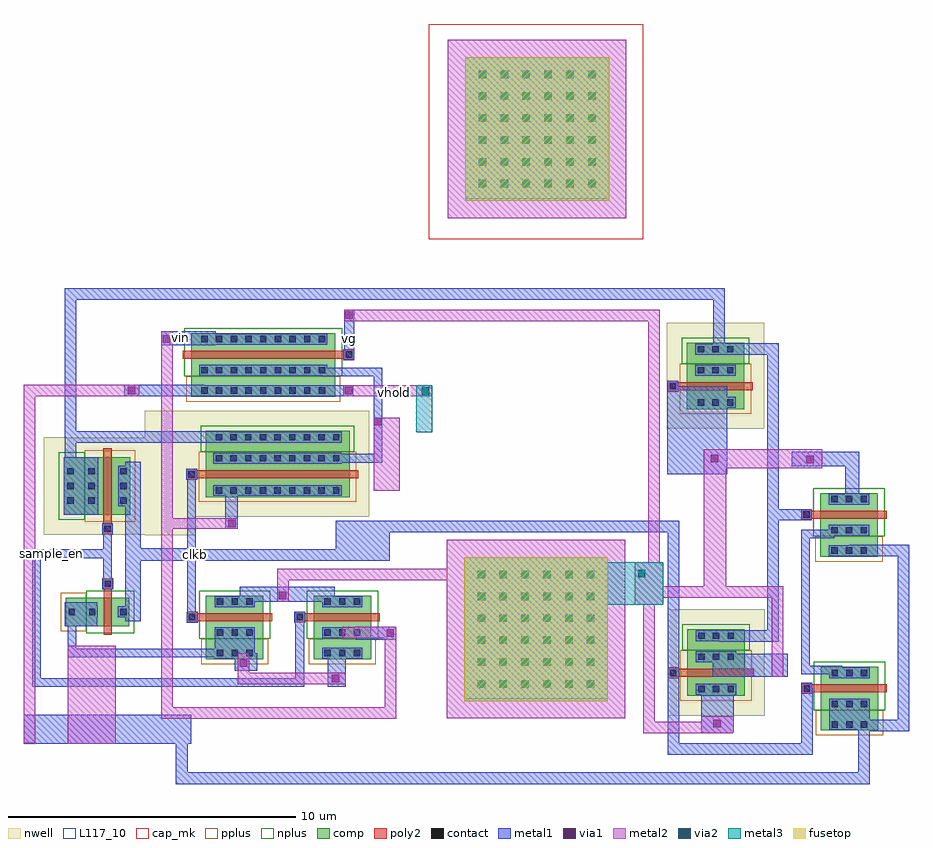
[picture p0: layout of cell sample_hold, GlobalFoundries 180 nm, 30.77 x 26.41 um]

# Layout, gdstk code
from math import pi, radians
import gdstk
lib = gdstk.Library(unit=1e-6, precision=5e-09)
def R(c, l, rs):  # rectangles x0, y0, x1, y1
    for r in rs: c.add(gdstk.rectangle(r[:2], r[2:], *l))
def A(c, l, x, y, w, h, nx, ny, dx, dy):  # array of equal rectangles
    R(c, l, [(x+i*dx, y+j*dy, x+i*dx+w, y+j*dy+h) for i in range(nx) for j in range(ny)])
def P(c, l, *ps):  # polygons
    for p in ps: c.add(gdstk.Polygon(p, *l))
nwell = (21, 0)
comp = (22, 0)
poly2 = (30, 0)
pplus = (31, 0)
nplus = (32, 0)
contact = (33, 0)
metal1 = (34, 0)
via1 = (35, 0)
metal2 = (36, 0)
via2 = (38, 0)
metal3 = (42, 0)
fusetop = (75, 0)
cap_mk = (117, 5)
L117_10 = (117, 10)

pfet = lib.new_cell('pfet')
R(pfet, nwell, [(-1.15,-0.69,2.54,2.69)])
R(pfet, comp, [(-0.46,0,0,2), (0,0,0.66,2), (0.66,0,1.12,2), (1.12,0,1.85,2)])
R(pfet, poly2, [(0.14,-0.68,0.52,-0.3), (0.19,-0.3,0.47,2.3)])
R(pfet, pplus, [(-0.63,-0.24,1.12,2.24)])
R(pfet, nplus, [(1.12,-0.17,2.02,2.17)])
A(pfet, contact, -0.34, 0.38, 0.22, 0.22, 1, 3, 0, 0.51)
A(pfet, contact, 0.78, 0.38, 0.22, 0.22, 1, 3, 0, 0.51)
A(pfet, contact, 1.51, 0.38, 0.22, 0.22, 1, 3, 0, 0.51)
R(pfet, contact, [(0.22,-0.6,0.44,-0.38)])
R(pfet, metal1, [(0.14,-0.68,0.52,-0.3), (-0.42,0.3,-0.04,1.7), (0.7,0.3,1.08,1.7), (1.43,0.3,1.81,1.7)])

nfet = lib.new_cell('nfet')
R(nfet, comp, [(-0.42,0,0,1), (0,0,0.66,1), (0.66,0,1.08,1), (1.08,0,1.79,1)])
R(nfet, poly2, [(0.19,-0.3,0.47,1.3), (0.15,1.3,0.51,1.66)])
R(nfet, pplus, [(1.08,-0.17,1.96,1.17)])
R(nfet, nplus, [(-0.59,-0.24,1.08,1.24)])
R(nfet, contact, [(-0.32,0.39,-0.1,0.61), (0.76,0.39,0.98,0.61), (1.47,0.39,1.69,0.61), (0.22,1.37,0.44,1.59)])
R(nfet, metal1, [(-0.4,0.31,-0.02,0.69), (0.68,0.31,1.06,0.69), (1.39,0.31,1.77,0.69), (0.14,1.29,0.52,1.67)])

inv_sh = lib.new_cell('inv_sh')
R(inv_sh, metal1, [(0.29,-1.01,1.42,-0.18), (-1.22,-0.84,-0.68,4.7), (0.26,2.86,1.45,4.86)])
inv_sh.add(gdstk.FlexPath([(-0.07,2.37),(-0.07,0.43),(-0.07,0.43)], 0.3, ends="flush", simple_path=True, layer=34, datatype=0))  # metal1
inv_sh.add(gdstk.Reference(pfet, (-0.4,2.86)))
inv_sh.add(gdstk.Reference(nfet, (-0.41,-1.02)))
inv_sh.add(gdstk.Label('vdd', (0.855,3.64), layer=34, texttype=10))
inv_sh.add(gdstk.Label('vss', (0.86,-0.56), layer=34, texttype=10))
inv_sh.add(gdstk.Label('vo', (-0.99,1.28), layer=34, texttype=10))
inv_sh.add(gdstk.Label('vi', (-0.07,1.39), layer=34, texttype=10))

pfet_2 = lib.new_cell('pfet$2')
R(pfet_2, nwell, [(-1.15,-0.69,2.54,5.69)])
R(pfet_2, comp, [(-0.46,0,0,5), (0,0,0.66,5), (0.66,0,1.12,5), (1.12,0,1.85,5)])
R(pfet_2, poly2, [(0.19,-0.3,0.47,5.3), (0.14,5.3,0.52,5.68)])
R(pfet_2, pplus, [(-0.63,-0.24,1.12,5.24)])
R(pfet_2, nplus, [(1.12,-0.17,2.02,5.17)])
A(pfet_2, contact, -0.34, 0.35, 0.22, 0.22, 1, 9, 0, 0.51)
A(pfet_2, contact, 0.78, 0.35, 0.22, 0.22, 1, 9, 0, 0.51)
A(pfet_2, contact, 1.51, 0.35, 0.22, 0.22, 1, 9, 0, 0.51)
R(pfet_2, contact, [(0.22,5.38,0.44,5.6)])
R(pfet_2, metal1, [(-0.42,0.27,-0.04,4.73), (0.7,0.27,1.08,4.73), (1.43,0.27,1.81,4.73), (0.14,5.3,0.52,5.68)])

nfet_3 = lib.new_cell('nfet$3')
R(nfet_3, comp, [(-0.42,0,0,2), (0,0,0.66,2), (0.66,0,1.08,2), (1.08,0,1.79,2)])
R(nfet_3, poly2, [(0.15,-0.66,0.51,-0.3), (0.19,-0.3,0.47,2.3)])
R(nfet_3, pplus, [(1.08,-0.17,1.96,2.17)])
R(nfet_3, nplus, [(-0.59,-0.24,1.08,2.24)])
A(nfet_3, contact, -0.32, 0.38, 0.22, 0.22, 1, 3, 0, 0.51)
A(nfet_3, contact, 0.76, 0.38, 0.22, 0.22, 1, 3, 0, 0.51)
A(nfet_3, contact, 1.47, 0.38, 0.22, 0.22, 1, 3, 0, 0.51)
R(nfet_3, contact, [(0.22,-0.59,0.44,-0.37)])
R(nfet_3, metal1, [(0.14,-0.67,0.52,-0.29), (-0.4,0.3,-0.02,1.7), (0.68,0.3,1.06,1.7), (1.39,0.3,1.77,1.7)])

nfet_5 = lib.new_cell('nfet$5')
R(nfet_5, comp, [(-0.42,0,0,5), (0,0,0.66,5), (0.66,0,1.08,5), (1.08,0,1.79,5)])
R(nfet_5, poly2, [(0.15,-0.66,0.51,-0.3), (0.19,-0.3,0.47,5.3)])
R(nfet_5, pplus, [(1.08,-0.17,1.96,5.17)])
R(nfet_5, nplus, [(-0.59,-0.24,1.08,5.24)])
A(nfet_5, contact, -0.32, 0.35, 0.22, 0.22, 1, 9, 0, 0.51)
A(nfet_5, contact, 0.76, 0.35, 0.22, 0.22, 1, 9, 0, 0.51)
A(nfet_5, contact, 1.47, 0.35, 0.22, 0.22, 1, 9, 0, 0.51)
R(nfet_5, contact, [(0.22,-0.59,0.44,-0.37)])
R(nfet_5, metal1, [(0.14,-0.67,0.52,-0.29), (-0.4,0.27,-0.02,4.73), (0.68,0.27,1.06,4.73), (1.39,0.27,1.77,4.73)])

cap_mim = lib.new_cell('cap_mim')
R(cap_mim, metal2, [(-0.6,-0.6,5.6,5.6)])
A(cap_mim, via2, 0.47, 0.47, 0.26, 0.26, 6, 6, 0.76, 0.76)
R(cap_mim, metal3, [(0,0,5,5)])
R(cap_mim, fusetop, [(0,0,5,5)])
R(cap_mim, cap_mk, [(-0.6,-0.6,5.6,5.6)])
R(cap_mim, L117_10, [(0,0,5,0.1)])

pfet_3 = lib.new_cell('pfet$3')

pfet_5 = lib.new_cell('pfet$5')
R(pfet_5, nwell, [(-1.15,-0.69,2.54,2.69)])
R(pfet_5, comp, [(-0.46,0,0,2), (0,0,0.66,2), (0.66,0,1.12,2), (1.12,0,1.85,2)])
R(pfet_5, poly2, [(0.19,-0.3,0.47,2.3), (0.14,2.3,0.52,2.68)])
R(pfet_5, pplus, [(-0.63,-0.24,1.12,2.24)])
R(pfet_5, nplus, [(1.12,-0.17,2.02,2.17)])
A(pfet_5, contact, -0.34, 0.38, 0.22, 0.22, 1, 3, 0, 0.51)
A(pfet_5, contact, 0.78, 0.38, 0.22, 0.22, 1, 3, 0, 0.51)
A(pfet_5, contact, 1.51, 0.38, 0.22, 0.22, 1, 3, 0, 0.51)
R(pfet_5, contact, [(0.22,2.38,0.44,2.6)])
R(pfet_5, metal1, [(-0.42,0.3,-0.04,1.7), (0.7,0.3,1.08,1.7), (1.43,0.3,1.81,1.7), (0.14,2.3,0.52,2.68)])

cap_mim_2 = lib.new_cell('cap_mim$2')
R(cap_mim_2, metal2, [(-0.6,-0.6,5.6,5.6)])
A(cap_mim_2, via2, 0.47, 0.47, 0.26, 0.26, 6, 6, 0.76, 0.76)
R(cap_mim_2, metal3, [(0,0,5,5)])
R(cap_mim_2, fusetop, [(0,0,5,5)])
R(cap_mim_2, cap_mk, [(-0.6,-0.6,5.6,5.6)])
R(cap_mim_2, L117_10, [(0,0,5,0.1)])

sample_hold = lib.new_cell('sample_hold')
R(sample_hold, nwell, [(-24.39,11.62,-22.61,15.95)])
R(sample_hold, metal1, [(-28.59,4.38,-22.77,5.38), (-5.03,4.74,-3.95,5.14), (-5.04,4.77,-3.91,6.39), (-0.6,4.86,0.8,5.95), (-18.03,6.36,-17.4,7.53), (-4.64,6.7,-2.04,7.51), (-21.26,6.91,-20.48,7.53), (-21.96,7.53,-20.56,8.24), (-17.05,7.99,-15.65,8.45), (-21.08,9.31,-17.78,9.83), (-25.07,10.73,-22.61,11.17), (-17.74,10.73,-15.88,12.12), (-21.58,11.85,-21.15,13.37), (-2.75,12.15,-1.2,12.53), (-6.23,13.75,-4.14,16.8), (-18.63,16.45,-17.14,16.84), (-17.46,17.72,-17.1,19.46), (-23.81,18.23,-21.92,18.71)])
P(sample_hold, metal1, [(-21.92,18.23),(-21.92,18.23),(-21.92,18.23),(-21.92,18.23)],
  [(-21.15,11.85),(-21.15,11.85),(-21.15,11.85),(-21.15,11.85)])
R(sample_hold, via1, [(-4.63,4.96,-4.37,5.22), (-17.895,6.515,-17.635,6.775), (-21.09,7.05,-20.83,7.31), (-15.985,8.09,-15.725,8.35), (-19.73,9.4,-19.47,9.66), (-21.485,11.905,-21.225,12.165), (-1.395,14.125,-1.135,14.385), (-4.725,14.165,-4.465,14.425), (-16.42,15.445,-16.16,15.705), (-24.98,16.52,-24.72,16.78), (-17.44,16.53,-17.18,16.79), (-23.755,18.315,-23.495,18.575), (-17.41,19.14,-17.15,19.4)])
P(sample_hold, via1, [(-16.36,15.67),(-16.36,15.67),(-16.36,15.67),(-16.36,15.67)])
R(sample_hold, metal2, [(-27.07,4.38,-25.39,7.78), (-5.04,4.77,-3.91,5.34), (-7.35,9.21,-6.37,10.69), (-4.96,9.45,-4.18,14.59), (-23.81,11.39,-23.41,18.71), (-23.81,11.85,-21.15,12.21), (-16.42,13.17,-15.52,15.705), (-4.96,13.95,-0.85,14.62), (-17.48,16.46,-14.4,16.83)])
R(sample_hold, via2, [(-7.245,10.165,-6.985,10.425), (-14.765,16.51,-14.505,16.77)])
R(sample_hold, metal3, [(-10.02,9.21,-6.37,10.69), (-14.95,15.2,-14.4,16.83)])
R(sample_hold, cap_mk, [(-14.52,21.91,-7.07,29.39), (-12.84,29.21,-12.82,29.39)])
P(sample_hold, cap_mk, [(-12.83,29.3),(-12.83,29.3),(-12.83,29.3),(-12.83,29.3)],
  [(-12.82,29.21),(-12.82,29.21),(-12.82,29.21),(-12.82,29.21)])
sample_hold.add(gdstk.FlexPath([(-18.23,17.3),(-16.28,17.3),(-16.28,14.3),(-18.13,14.3)], 0.3, ends="flush", simple_path=True, layer=34, datatype=0))  # metal1
sample_hold.add(gdstk.FlexPath([(-26.97,13.85),(-26.97,15.03),(-21.41,15.03),(-21.41,15.03)], 0.4, ends="flush", simple_path=True, layer=34, datatype=0))  # metal1
sample_hold.add(gdstk.FlexPath([(-16.4,11.92),(-6.02,11.92),(-6.02,6.84)], 0.4, ends="flush", simple_path=True, layer=34, datatype=0))  # metal1
sample_hold.add(gdstk.FlexPath([(-4.43,17.94),(-4.43,20.01),(-26.97,20.01),(-26.97,13.96),(-26.97,13.96)], 0.4, ends="flush", simple_path=True, layer=34, datatype=0))  # metal1
sample_hold.add(gdstk.FlexPath([(-4.44,18.09),(-2.55,18.09),(-2.55,8.13),(-4.42,8.13),(-4.42,8.13)], 0.4, ends="flush", simple_path=True, layer=34, datatype=0))  # metal1
sample_hold.add(gdstk.FlexPath([(-17.52,10.93),(-22.91,10.93)], 0.4, ends="flush", simple_path=True, layer=34, datatype=0))  # metal1
sample_hold.add(gdstk.FlexPath([(-0.42,11.67),(-1.42,11.67),(-1.42,6.94),(-0.3,6.94),(-0.3,6.84)], 0.3, ends="flush", simple_path=True, layer=34, datatype=0))  # metal1
sample_hold.add(gdstk.FlexPath([(0.4,5.02),(1.98,5.02),(1.98,11.09),(0.09,11.09),(0.09,11.09)], 0.4, ends="flush", simple_path=True, layer=34, datatype=0))  # metal1
sample_hold.add(gdstk.FlexPath([(-6.02,6.84),(-6.02,4.2),(-1.38,4.2),(-1.38,6.3),(-1.38,6.3)], 0.4, ends="flush", simple_path=True, layer=34, datatype=0))  # metal1
sample_hold.add(gdstk.FlexPath([(-22.31,16.65),(-25.1,16.65)], 0.4, ends="flush", simple_path=True, layer=34, datatype=0))  # metal1
sample_hold.add(gdstk.FlexPath([(0.61,5.05),(0.61,3.18),(-23.1,3.18),(-23.1,4.84),(-23.08,4.84)], 0.4, ends="flush", simple_path=True, layer=34, datatype=0))  # metal1
sample_hold.add(gdstk.FlexPath([(-1.91,14.27),(0.2,14.27),(0.2,12.88)], 0.5, ends="flush", simple_path=True, layer=34, datatype=0))  # metal1
sample_hold.add(gdstk.FlexPath([(-22.76,13.74),(-22.76,8.78),(-22.74,8.78)], 0.3, ends="flush", simple_path=True, layer=34, datatype=0))  # metal1
sample_hold.add(gdstk.FlexPath([(-26.92,8.96),(-26.92,7.53),(-21.77,7.53),(-21.77,7.53)], 0.3, ends="flush", simple_path=True, layer=34, datatype=0))  # metal1
sample_hold.add(gdstk.FlexPath([(-25.68,10.98),(-28.15,10.98),(-28.15,6.51),(-19,6.51),(-19,8.78),(-19,8.78)], 0.3, ends="flush", simple_path=True, layer=34, datatype=0))  # metal1
sample_hold.add(gdstk.FlexPath([(-19.59,9.31),(-19.59,10.26),(-11.8,10.26)], 0.4, ends="flush", simple_path=True, layer=36, datatype=0))  # metal2
sample_hold.add(gdstk.FlexPath([(-24.57,16.66),(-28.39,16.66),(-28.39,4.39),(-28.39,4.39)], 0.4, ends="flush", simple_path=True, layer=36, datatype=0))  # metal2
sample_hold.add(gdstk.FlexPath([(-2.39,6.7),(-2.39,9.65),(-7.07,9.65),(-7.07,9.65)], 0.4, ends="flush", simple_path=True, layer=36, datatype=0))  # metal2
sample_hold.add(gdstk.FlexPath([(-17.4,6.65),(-20.96,6.65),(-20.96,7.53),(-20.96,7.53)], 0.4, ends="flush", simple_path=True, layer=36, datatype=0))  # metal2
sample_hold.add(gdstk.FlexPath([(-17.46,19.26),(-6.69,19.26),(-6.69,9.4)], 0.4, ends="flush", simple_path=True, layer=36, datatype=0))  # metal2
sample_hold.add(gdstk.FlexPath([(-6.87,9.95),(-6.87,4.94),(-4.15,4.94),(-4.15,5.14)], 0.4, ends="flush", simple_path=True, layer=36, datatype=0))  # metal2
sample_hold.add(gdstk.FlexPath([(-23.61,11.95),(-23.61,5.44),(-15.85,5.44),(-15.85,8.24),(-17.52,8.24)], 0.4, ends="flush", simple_path=True, layer=36, datatype=0))  # metal2
sample_hold.add(gdstk.Reference(inv_sh, (-25.75,9.48), rotation=pi, x_reflection=True))
sample_hold.add(gdstk.Reference(pfet_2, (-17.27,13.41), rotation=pi/2))
sample_hold.add(gdstk.Reference(nfet_3, (-22.26,9.11), rotation=3*pi/2))
sample_hold.add(gdstk.Reference(nfet_3, (-18.52,9.11), rotation=3*pi/2))
sample_hold.add(gdstk.Reference(nfet_5, (-17.77,18.23), rotation=3*pi/2, x_reflection=True))
sample_hold.add(gdstk.Reference(cap_mim, (-13.29,5.86)))
sample_hold.add(gdstk.Reference(pfet_3, (-3.38,9.37)))
sample_hold.add(gdstk.Reference(pfet_5, (-3.55,16.47), rotation=pi/2))
sample_hold.add(gdstk.Reference(pfet_5, (-3.53,6.51), rotation=pi/2))
sample_hold.add(gdstk.Reference(nfet_3, (-0.9,6.63), rotation=3*pi/2))
sample_hold.add(gdstk.Reference(nfet_3, (-0.91,12.67), rotation=3*pi/2))
sample_hold.add(gdstk.Reference(cap_mim_2, (-13.25,23.24)))
sample_hold.add(gdstk.Label('sample_en', (-27.64,10.98), layer=34, texttype=10))
sample_hold.add(gdstk.Label('clkb', (-22.61,10.95), layer=34, texttype=10))
sample_hold.add(gdstk.Label('vin', (-23.16,18.48), layer=34, texttype=10))
sample_hold.add(gdstk.Label('vg', (-17.28,18.45), layer=34, texttype=10))
sample_hold.add(gdstk.Label('vhold', (-15.72,16.58), layer=34, texttype=10))

lib.write_gds('sample_hold.gds')
